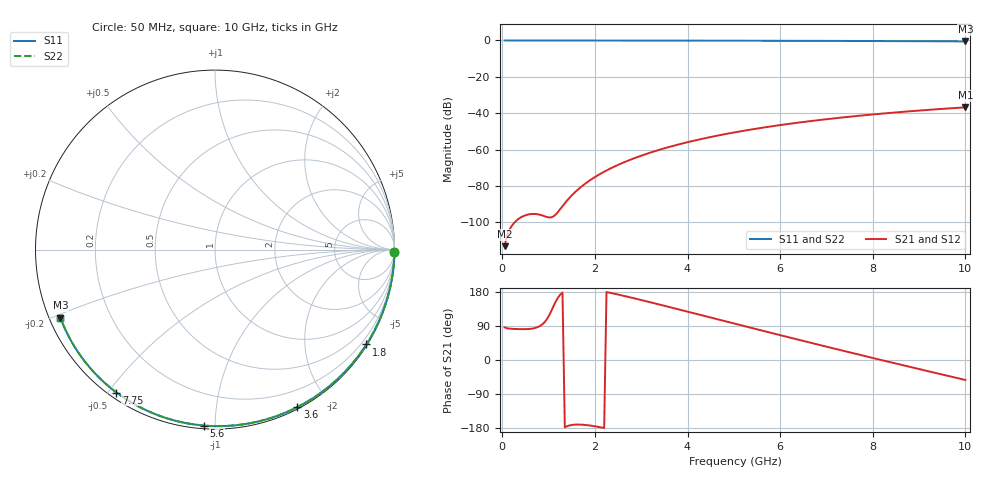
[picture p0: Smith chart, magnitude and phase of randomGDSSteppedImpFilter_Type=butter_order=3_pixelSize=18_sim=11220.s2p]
! freq	dB(S11)	phase(S11)	dB(S12)	phase(S12)
!  dB(S21)	phase(S21)	dB(S22)	phase(S22)
!S-par simulation data
#  GHz  S  DB  R 50
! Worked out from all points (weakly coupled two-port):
!   200 points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, 50 MHz to 10 GHz, reference 50 ohm
!   highest |S21| = -36.76 dB at 10 GHz (marker M1); lowest = -113.1 dB at 50 MHz (marker M2)
!   lowest |S11| = -0.5 dB at 10 GHz (marker M3), VSWR 33.06, Z = 1.58 - j10.5 ohm
!   |S11| at or under -10 dB: nowhere
!   |S22| runs from -0.5 to 0.0 dB; largest |S21 - S12| = 0
!   S11 on the Smith chart (normalised r, x): 50 MHz: open; 1.8 GHz: 0.03, -3.48; 3.6 GHz: 0.02, -1.65; 5.6 GHz: 0.02, -0.94; 7.75 GHz: 0.02, -0.52; 10 GHz: 0.03, -0.21
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0.05  -0.00 -0.9  -113.06 86.2  -113.06 86.2  -0.00 -0.9
0.45  -0.01 -8.1  -96.60 81.3  -96.60 81.3  -0.01 -8.1
0.9  -0.02 -16.2  -96.49 98.1  -96.49 98.1  -0.02 -16.2
1.7  -0.04 -30.3  -80.50 -170.6  -80.50 -170.6  -0.04 -30.3
1.75  -0.04 -31.2  -79.49 -171.0  -79.49 -171.0  -0.04 -31.2
1.8  -0.04 -32.1  -78.53 -171.5  -78.53 -171.5  -0.04 -32.1
1.95  -0.04 -34.7  -75.89 -173.9  -75.89 -173.9  -0.04 -34.7
2.1  -0.05 -37.3  -73.56 -177.1  -73.56 -177.1  -0.05 -37.3
2.3  -0.05 -40.7  -70.81 178.1  -70.81 178.1  -0.05 -40.7
2.5  -0.06 -44.1  -68.38 172.8  -68.38 172.8  -0.06 -44.1
2.9  -0.07 -50.9  -64.25 161.3  -64.25 161.3  -0.07 -50.9
3.4  -0.08 -59.2  -60.03 146.2  -60.03 146.2  -0.08 -59.2
3.6  -0.08 -62.4  -58.56 140.0  -58.56 140.0  -0.08 -62.4
4.3  -0.10 -73.6  -54.15 118.2  -54.15 118.2  -0.10 -73.6
5.05  -0.13 -85.3  -50.35 94.9  -50.35 94.9  -0.13 -85.3
5.6  -0.16 -93.6  -48.02 77.8  -48.02 77.8  -0.16 -93.6
6.15  -0.18 -101.7  -45.98 60.9  -45.98 60.9  -0.18 -101.7
6.7  -0.21 -109.7  -44.17 44.2  -44.17 44.2  -0.21 -109.7
7.75  -0.29 -124.6  -41.27 12.7  -41.27 12.7  -0.29 -124.6
8.35  -0.34 -133.0  -39.87 -4.9  -39.87 -4.9  -0.34 -133.0
9.2  -0.43 -144.9  -38.14 -29.7  -38.14 -29.7  -0.43 -144.9
10  -0.53 -156.2  -36.76 -52.7  -36.76 -52.7  -0.53 -156.2
